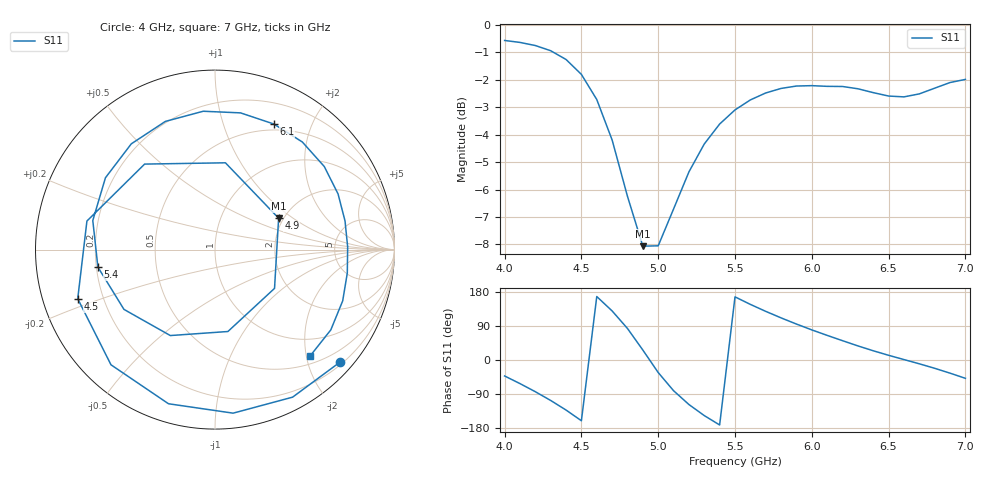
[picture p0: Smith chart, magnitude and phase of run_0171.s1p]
! Touchstone file exported from HFSS 2024.2.0
!  File:  C:/Users/wsak9/Desktop/Sim Fast/Widenad Patch/WP_AI_V1_sweep.aedt
!  Generated:  10:03:33 PM Oct 13, 2026
!  Design:  A1_model
!  Project:  WP_AI_V1_sweep
!  Setup:  Setup1
!  Solution:  Sweep
! Variables:
!  Air_gap = 1.86mm
!  Curve_Amp1 = 1.34
!  Curve_len1 = 1
!  Curve_pos = 11.545mm
!  Extra = 6.22mm
!  H_sub = 0.79mm
!  L_Patch = 19.09mm
!  L_Patch1 = 15.15mm
!  Sx = 1.7mm
!  Sy = 4.78mm
!  WS = 1.39mm
!  W_Patch = 14.74mm
!  W_Patch1 = 8.93mm
!Data is not renormalized
# GHz S MA
! Terminal data exported
! Port[1] = 1
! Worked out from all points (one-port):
!   31 points, 4 GHz to 7 GHz, reference per port
!   lowest |S11| = -8.1 dB at 4.9 GHz (marker M1), VSWR 2.31
!   |S11| at or under -10 dB: nowhere
!   S11 on the Smith chart (normalised r, x): 4 GHz: 0.25, -2.57; 4.5 GHz: 0.11, -0.17; 4.9 GHz: 1.89, +0.78; 5.4 GHz: 0.21, -0.07; 6.1 GHz: 0.43, +1.48; 7 GHz: 0.64, -2.07
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4  0.9365 -42.2
4.1  0.9289 -62.3
4.2  0.9168 -83.7
4.3  0.8971 -106.8
4.4  0.8647 -132.1
4.5  0.8123 -160.3
4.6  0.7311 167.4
4.7  0.617 129.5
4.8  0.4871 83.1
4.9  0.3953 26.3
5  0.3959 -33.1
5.1  0.462 -81.0
5.2  0.5397 -117.5
5.3  0.6068 -146.7
5.4  0.6597 -171.5
5.5  0.6999 166.6
5.6  0.7299 146.7
5.7  0.7515 128.4
5.8  0.7659 111.2
5.9  0.7736 94.9
6  0.7749 79.4
6.1  0.7726 65.0
6.3  0.7648 37.2
6.5  0.7418 12.4
6.7  0.7486 -10.0
6.8  0.7667 -21.9
6.9  0.7851 -34.7
7  0.7954 -48.3
